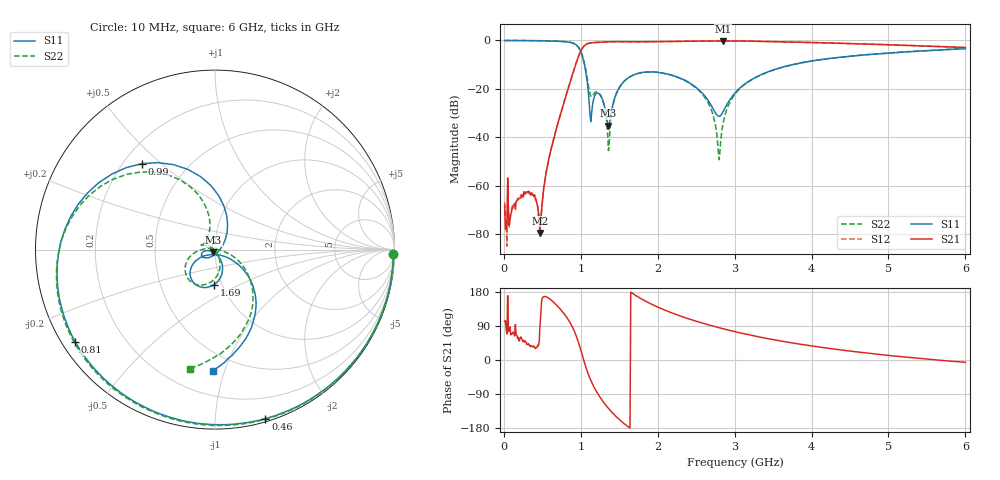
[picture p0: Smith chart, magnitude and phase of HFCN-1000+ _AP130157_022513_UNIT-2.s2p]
!Mini-Circuits Laboratory
!S-Parameters
!Model:HFCN-1000+
!Run/Lot/Date Code: CS0100//N/A
!DATA FOR: UNIT# 2
!Fixture/SN/Due: N/A
!Connection: PORT-1 - pin<1>; PORT-2 - pin<3>
!PORT EXTENSION IS DONE ON TEST BOARD(TB-270)
!Created: 02-25-2013 at 10:37 AM
# MHZ S DB R 50
!Frequency  S11 dB  S11 DEG  S21 dB  S21 DEG  S12 dB  S12 DEG  S22 dB  S22 DEG
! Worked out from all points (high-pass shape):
!   600 points, 10 MHz to 6 GHz, reference 50 ohm
!   highest |S21| = -0.24 dB at 2.85 GHz (marker M1); lowest = -79.4 dB at 470 MHz (marker M2)
!   |S21| within 3 dB of the highest: 1.021 GHz to end of sweep
!   lowest |S11| = -35.1 dB at 1.36 GHz (marker M3), VSWR 1.04, Z = 49 - j1.42 ohm
!   |S11| at or under -10 dB: 1.047 GHz to 3.752 GHz (2.705 GHz wide, 113 % of centre)
!   |S22| runs from -49.2 to 0.0 dB; largest |S21 - S12| = 0.0021
!   S11 on the Smith chart (normalised r, x): 10 MHz: 15, -73; 460 MHz: 0.02, -1.34; 810 MHz: 0.04, -0.30; 990 MHz: 0.27, +0.43; 1.69 GHz: 0.92, -0.37; 6 GHz: 0.37, -0.91
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10  -0.05 -1.5  -68.21 102.3  -66.73 140.1  -0.05 -1.5
310  -0.08 -48.7  -62.55 41.6  -62.89 42.8  -0.07 -49.7
460  -0.15 -73.4  -75.57 48.2  -71.92 53.7  -0.13 -74.8
470  -0.15 -75.1  -79.43 91.9  -75.92 78.4  -0.13 -76.5
580  -0.24 -94.7  -49.68 163.1  -49.65 163.3  -0.20 -96.1
810  -0.60 -146.6  -22.63 114.7  -22.63 114.7  -0.54 -146.0
910  -1.31 176.9  -12.29 78.8  -12.29 78.8  -1.21 -179.7
990  -4.03 130.3  -5.09 33.3  -5.09 33.3  -3.80 139.5
1010  -5.58 116.0  -3.80 19.5  -3.80 19.5  -5.26 127.8
1130  -33.53 -52.0  -1.04 -53.5  -1.04 -53.5  -23.04 133.1
1240  -22.11 -162.6  -0.77 -95.0  -0.77 -95.0  -21.83 162.1
1360  -35.14 -124.4  -0.60 -127.7  -0.60 -127.7  -45.45 -161.7
1480  -20.67 -64.2  -0.54 -153.2  -0.54 -153.2  -20.78 -71.6
1690  -14.21 -91.3  -0.57 173.5  -0.57 173.5  -14.23 -102.1
2010  -13.21 -123.9  -0.53 138.7  -0.53 138.7  -13.23 -135.6
2580  -21.75 -151.1  -0.28 97.5  -0.28 97.4  -22.24 -179.6
2790  -31.23 -97.8  -0.24 85.6  -0.24 85.6  -46.71 118.6
2850  -29.40 -58.4  -0.24 82.4  -0.24 82.4  -34.36 -2.2
3010  -21.50 -32.2  -0.26 74.5  -0.25 74.4  -21.99 -16.9
4010  -8.44 -52.7  -0.89 36.9  -0.89 36.8  -8.46 -56.5
5010  -5.22 -74.3  -1.83 11.9  -1.82 11.9  -5.17 -82.6
6000  -3.42 -91.0  -2.96 -6.0  -2.96 -6.0  -3.38 -101.8
